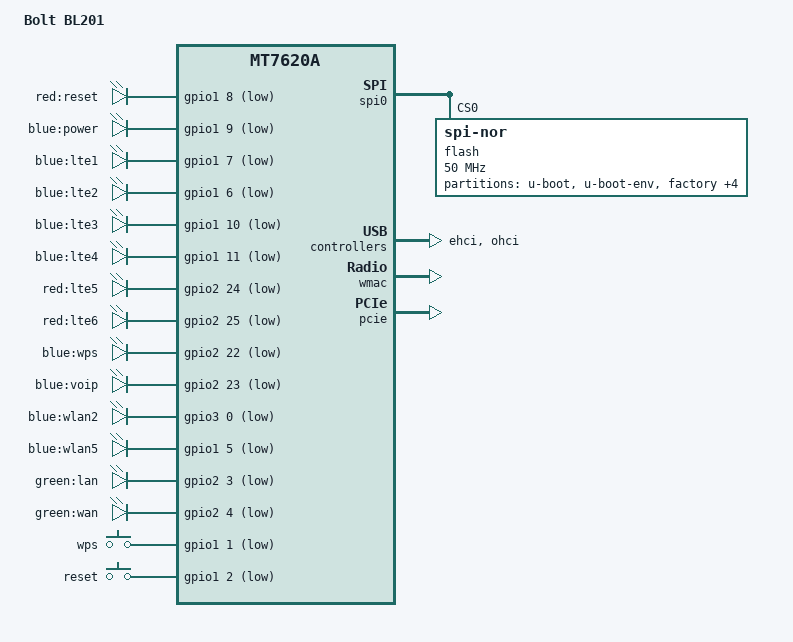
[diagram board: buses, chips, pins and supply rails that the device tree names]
#include "mt7620a.dtsi"

#include <dt-bindings/gpio/gpio.h>
#include <dt-bindings/input/input.h>
#include <dt-bindings/mtd/partitions/uimage.h>

/ {
	compatible = "bolt,bl201", "ralink,mt7620a-soc";
	model = "Bolt BL201";

	aliases {
		led-boot = &led_reset;
		led-failsafe = &led_reset;
		led-running = &led_power;
		led-upgrade = &led_reset;
		label-mac-device = &ethernet;
	};

	chosen {
		bootargs = "console=ttyS0,57600";
	};

	leds {
		compatible = "gpio-leds";

		led_reset: led-reset {
			label = "red:reset";
			gpios = <&gpio1 8 GPIO_ACTIVE_LOW>;
		};

		led_power: led-power {
			label = "blue:power";
			gpios = <&gpio1 9 GPIO_ACTIVE_LOW>;
		};

		led-lte1 {
			label = "blue:lte1";
			gpios = <&gpio1 7 GPIO_ACTIVE_LOW>;
		};

		led-lte2 {
			label = "blue:lte2";
			gpios = <&gpio1 6 GPIO_ACTIVE_LOW>;
		};

		led-lte3 {
			label = "blue:lte3";
			gpios = <&gpio1 10 GPIO_ACTIVE_LOW>;
		};

		led-lte4 {
			label = "blue:lte4";
			gpios = <&gpio1 11 GPIO_ACTIVE_LOW>;
		};

		led-lte5 {
			label = "red:lte5";
			gpios = <&gpio2 24 GPIO_ACTIVE_LOW>;
		};

		led-lte6 {
			label = "red:lte6";
			gpios = <&gpio2 25 GPIO_ACTIVE_LOW>;
		};

		led-wps {
			label = "blue:wps";
			gpios = <&gpio2 22 GPIO_ACTIVE_LOW>;
		};

		led-voip {
			label = "blue:voip";
			gpios = <&gpio2 23 GPIO_ACTIVE_LOW>;
		};

		led-wlan2 {
			label = "blue:wlan2";
			gpios = <&gpio3 0 GPIO_ACTIVE_LOW>;
			linux,default-trigger = "phy1tpt";
		};

		led-wlan5 {
			label = "blue:wlan5";
			gpios = <&gpio1 5 GPIO_ACTIVE_LOW>;
			linux,default-trigger = "phy0tpt";
		};

		led-lan {
			label = "green:lan";
			gpios = <&gpio2 3 GPIO_ACTIVE_LOW>;
		};

		led-wan {
			label = "green:wan";
			gpios = <&gpio2 4 GPIO_ACTIVE_LOW>;
		};
	};

	keys {
		compatible = "gpio-keys";

		wps {
			label = "wps";
			linux,code = <KEY_WPS_BUTTON>;
			gpios = <&gpio1 1 GPIO_ACTIVE_LOW>;
		};

		reset {
			label = "reset";
			linux,code = <KEY_RESTART>;
			gpios = <&gpio1 2 GPIO_ACTIVE_LOW>;
		};
	};
};

&gpio0 {
	status = "okay";
};

&gpio1 {
	status = "okay";
};

&gpio2 {
	status = "okay";
};

&gpio3 {
	status = "okay";
};

&spi0 {
	status = "okay";

	flash@0 {
		compatible = "jedec,spi-nor";
		reg = <0>;
		spi-max-frequency = <50000000>;

		partitions {
			compatible = "fixed-partitions";
			#address-cells = <1>;
			#size-cells = <1>;

			partition@0 {
				label = "u-boot";
				reg = <0x0 0x30000>;
				read-only;
			};

			partition@30000 {
				label = "u-boot-env";
				reg = <0x30000 0x10000>;
			};

			factory: partition@40000 {
				label = "factory";
				reg = <0x40000 0x10000>;
				read-only;
			};

			partition@50000 {
				label = "firmware";
				reg = <0x50000 0xf80000>;
				compatible = "openwrt,uimage", "denx,uimage";
				openwrt,ih-magic = <0x26112015>;
			};

			partition@fd0000 {
				label = "crash";
				reg = <0xfd0000 0x10000>;
			};

			partition@fe0000 {
				label = "reserved";
				reg = <0xfe0000 0x10000>;
				read-only;
			};

			partition@ff0000 {
				label = "Bdata";
				reg = <0xff0000 0x10000>;
			};
		};
	};
};

&ehci {
	status = "okay";
};

&ohci {
	status = "okay";
};

&ethernet {
	mtd-mac-address = <&factory 0x28>;

	mediatek,portmap = "llllw";
};

&wmac {
	ralink,mtd-eeprom = <&factory 0x0>;
	pinctrl-names = "default";
	pinctrl-0 = <&pa_pins>;
};

&pcie {
	status = "okay";
};

&pcie0 {
	mt76@0,0 {
		reg = <0x0000 0 0 0 0>;
		mediatek,mtd-eeprom = <&factory 0x8000>;
		ieee80211-freq-limit = <5000000 6000000>;
	};
};

&state_default {
	gpio {
		groups = "i2c", "uartf", "rgmii1", "rgmii2", "ephy", "wled", "nd_sd";
		function = "gpio";
	};
};
